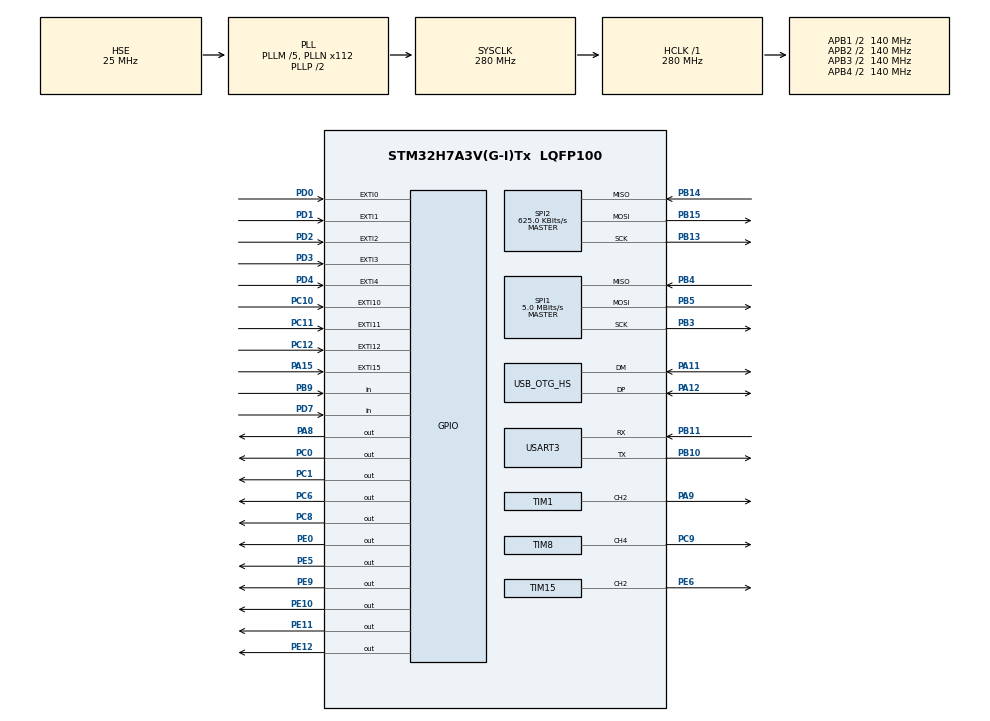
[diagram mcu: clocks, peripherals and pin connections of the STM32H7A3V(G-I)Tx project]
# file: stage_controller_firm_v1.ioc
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CORTEX_M7.default_mode_Activation=1
Dma.Request0=TIM1_UP
Dma.Request1=TIM8_UP
Dma.Request2=TIM15_UP
Dma.TIM15_UP.2.Direction=DMA_MEMORY_TO_PERIPH
Dma.TIM15_UP.2.EventEnable=DISABLE
Dma.TIM15_UP.2.FIFOMode=DMA_FIFOMODE_DISABLE
Dma.TIM15_UP.2.Instance=DMA1_Stream2
Dma.TIM15_UP.2.MemDataAlignment=DMA_MDATAALIGN_WORD
Dma.TIM15_UP.2.MemInc=DMA_MINC_ENABLE
Dma.TIM15_UP.2.Mode=DMA_NORMAL
Dma.TIM15_UP.2.PeriphDataAlignment=DMA_PDATAALIGN_WORD
Dma.TIM15_UP.2.PeriphInc=DMA_PINC_DISABLE
Dma.TIM15_UP.2.Polarity=HAL_DMAMUX_REQ_GEN_RISING
Dma.TIM15_UP.2.Priority=DMA_PRIORITY_VERY_HIGH
Dma.TIM15_UP.2.RequestNumber=1
Dma.TIM15_UP.2.SignalID=NONE
Dma.TIM15_UP.2.SyncEnable=DISABLE
Dma.TIM15_UP.2.SyncPolarity=HAL_DMAMUX_SYNC_NO_EVENT
Dma.TIM15_UP.2.SyncRequestNumber=1
Dma.TIM15_UP.2.SyncSignalID=NONE
Dma.TIM1_UP.0.Direction=DMA_MEMORY_TO_PERIPH
Dma.TIM1_UP.0.EventEnable=DISABLE
Dma.TIM1_UP.0.FIFOMode=DMA_FIFOMODE_DISABLE
Dma.TIM1_UP.0.Instance=DMA1_Stream0
Dma.TIM1_UP.0.MemDataAlignment=DMA_MDATAALIGN_WORD
Dma.TIM1_UP.0.MemInc=DMA_MINC_ENABLE
Dma.TIM1_UP.0.Mode=DMA_NORMAL
Dma.TIM1_UP.0.PeriphDataAlignment=DMA_PDATAALIGN_WORD
Dma.TIM1_UP.0.PeriphInc=DMA_PINC_DISABLE
Dma.TIM1_UP.0.Polarity=HAL_DMAMUX_REQ_GEN_RISING
Dma.TIM1_UP.0.Priority=DMA_PRIORITY_VERY_HIGH
Dma.TIM1_UP.0.RequestNumber=1
Dma.TIM1_UP.0.SignalID=NONE
Dma.TIM1_UP.0.SyncEnable=DISABLE
Dma.TIM1_UP.0.SyncPolarity=HAL_DMAMUX_SYNC_NO_EVENT
Dma.TIM1_UP.0.SyncRequestNumber=1
Dma.TIM1_UP.0.SyncSignalID=NONE
Dma.TIM8_UP.1.Direction=DMA_MEMORY_TO_PERIPH
Dma.TIM8_UP.1.EventEnable=DISABLE
Dma.TIM8_UP.1.FIFOMode=DMA_FIFOMODE_DISABLE
Dma.TIM8_UP.1.Instance=DMA1_Stream1
Dma.TIM8_UP.1.MemDataAlignment=DMA_MDATAALIGN_WORD
Dma.TIM8_UP.1.MemInc=DMA_MINC_ENABLE
Dma.TIM8_UP.1.Mode=DMA_NORMAL
Dma.TIM8_UP.1.PeriphDataAlignment=DMA_PDATAALIGN_WORD
Dma.TIM8_UP.1.PeriphInc=DMA_PINC_DISABLE
Dma.TIM8_UP.1.Polarity=HAL_DMAMUX_REQ_GEN_RISING
Dma.TIM8_UP.1.Priority=DMA_PRIORITY_VERY_HIGH
Dma.TIM8_UP.1.RequestNumber=1
Dma.TIM8_UP.1.SignalID=NONE
Dma.TIM8_UP.1.SyncEnable=DISABLE
Dma.TIM8_UP.1.SyncPolarity=HAL_DMAMUX_SYNC_NO_EVENT
Dma.TIM8_UP.1.SyncRequestNumber=1
Dma.TIM8_UP.1.SyncSignalID=NONE
Mcu.Family=STM32H7
Mcu.Name=STM32H7A3V(G-I)Tx
Mcu.Package=LQFP100
NVIC.DMA1_Stream0_IRQn=true\:2\:0\:true\:false\:true\:false\:true\:true
NVIC.DMA1_Stream1_IRQn=true\:0\:0\:false\:false\:true\:false\:true\:true
NVIC.DMA1_Stream2_IRQn=true\:0\:0\:false\:false\:true\:false\:true\:true
NVIC.EXTI0_IRQn=true\:1\:0\:true\:false\:true\:true\:true\:true
NVIC.EXTI15_10_IRQn=true\:1\:0\:true\:false\:true\:true\:true\:true
NVIC.EXTI1_IRQn=true\:1\:0\:true\:false\:true\:true\:true\:true
NVIC.EXTI2_IRQn=true\:1\:0\:true\:false\:true\:true\:true\:true
NVIC.EXTI3_IRQn=true\:1\:0\:true\:false\:true\:true\:true\:true
NVIC.EXTI4_IRQn=true\:1\:0\:true\:false\:true\:true\:true\:true
NVIC.OTG_HS_IRQn=true\:0\:0\:false\:false\:true\:false\:true\:true
NVIC.PriorityGroup=NVIC_PRIORITYGROUP_4
NVIC.SPI1_IRQn=true\:0\:0\:false\:false\:true\:true\:true\:true
NVIC.TIM15_IRQn=true\:0\:0\:false\:false\:true\:true\:true\:true
NVIC.TIM1_UP_IRQn=true\:2\:0\:true\:false\:true\:true\:true\:true
NVIC.TIM6_DAC_IRQn=true\:3\:0\:true\:false\:true\:true\:true\:true
NVIC.TIM8_UP_TIM13_IRQn=true\:0\:0\:false\:false\:true\:true\:true\:true
NVIC.USART3_IRQn=true\:7\:0\:true\:false\:true\:true\:true\:true
PA11.Mode=Device_Only_FS
PA11.Signal=USB_OTG_HS_DM
PA12.Mode=Device_Only_FS
PA12.Signal=USB_OTG_HS_DP
PA13.Mode=Serial_Wire
PA13.Signal=DEBUG_JTMS-SWDIO
PA14.Mode=Serial_Wire
PA14.Signal=DEBUG_JTCK-SWCLK
PA15.GPIO_ModeDefaultEXTI=GPIO_MODE_IT_RISING_FALLING
PA15.GPIO_PuPd=GPIO_PULLUP
PA15.Signal=GPXTI15
PA8.Signal=GPIO_Output
PA9.Signal=S_TIM1_CH2
PB10.Mode=Asynchronous
PB10.Signal=USART3_TX
PB11.Mode=Asynchronous
PB11.Signal=USART3_RX
PB13.Mode=Full_Duplex_Master
PB13.Signal=SPI2_SCK
PB14.Mode=Full_Duplex_Master
PB14.Signal=SPI2_MISO
PB15.Mode=Full_Duplex_Master
PB15.Signal=SPI2_MOSI
PB3.Mode=Full_Duplex_Master
PB3.Signal=SPI1_SCK
PB4.Mode=Full_Duplex_Master
PB4.Signal=SPI1_MISO
PB5.Mode=Full_Duplex_Master
PB5.Signal=SPI1_MOSI
PB9.Signal=GPIO_Input
PC0.Signal=GPIO_Output
PC1.Signal=GPIO_Output
PC10.GPIO_ModeDefaultEXTI=GPIO_MODE_IT_RISING_FALLING
PC10.GPIO_PuPd=GPIO_PULLUP
PC10.Signal=GPXTI10
PC11.GPIO_ModeDefaultEXTI=GPIO_MODE_IT_RISING_FALLING
PC11.GPIO_PuPd=GPIO_PULLUP
PC11.Signal=GPXTI11
PC12.GPIO_ModeDefaultEXTI=GPIO_MODE_IT_RISING_FALLING
PC12.GPIO_PuPd=GPIO_PULLUP
PC12.Signal=GPXTI12
PC6.Signal=GPIO_Output
PC8.Signal=GPIO_Output
PC9.Signal=S_TIM8_CH4
PD0.GPIO_ModeDefaultEXTI=GPIO_MODE_IT_RISING_FALLING
PD0.GPIO_PuPd=GPIO_PULLUP
PD0.Signal=GPXTI0
PD1.GPIO_ModeDefaultEXTI=GPIO_MODE_IT_RISING_FALLING
PD1.GPIO_PuPd=GPIO_PULLUP
PD1.Signal=GPXTI1
PD2.GPIO_ModeDefaultEXTI=GPIO_MODE_IT_RISING_FALLING
PD2.GPIO_PuPd=GPIO_PULLUP
PD2.Signal=GPXTI2
PD3.GPIO_ModeDefaultEXTI=GPIO_MODE_IT_RISING_FALLING
PD3.GPIO_PuPd=GPIO_PULLUP
PD3.Signal=GPXTI3
PD4.GPIO_ModeDefaultEXTI=GPIO_MODE_IT_RISING_FALLING
PD4.GPIO_PuPd=GPIO_PULLUP
PD4.Signal=GPXTI4
PD7.Signal=GPIO_Input
PE0.Signal=GPIO_Output
PE10.Signal=GPIO_Output
PE11.Signal=GPIO_Output
PE12.Signal=GPIO_Output
PE5.Signal=GPIO_Output
PE6.Signal=S_TIM15_CH2
PE9.Signal=GPIO_Output
PH0-OSC_IN.Mode=HSE-External-Clock-Source
PH0-OSC_IN.Signal=RCC_OSC_IN
ProjectManager.HeapSize=0x200
ProjectManager.StackSize=0x400
ProjectManager.TargetToolchain=STM32CubeIDE
RCC.ADCFreq_Value=50390625
RCC.APB1Freq_Value=140000000
RCC.APB2Freq_Value=140000000
RCC.APB3Freq_Value=140000000
RCC.APB4Freq_Value=140000000
RCC.CDPPRE=RCC_APB3_DIV2
RCC.CDPPRE1=RCC_APB1_DIV2
RCC.CDPPRE2=RCC_APB2_DIV2
RCC.CortexFreq_Value=280000000
RCC.DIVM1=5
RCC.DIVN1=112
RCC.DIVQ1=14
RCC.HCLKFreq_Value=280000000
RCC.HSE_VALUE=25000000
RCC.PLLSourceVirtual=RCC_PLLSOURCE_HSE
RCC.SRDPPRE=RCC_APB4_DIV2
RCC.SYSCLKFreq_VALUE=280000000
RCC.SYSCLKSource=RCC_SYSCLKSOURCE_PLLCLK
RCC.USBCLockSelection=RCC_USBCLKSOURCE_HSI48
RCC.USBFreq_Value=48000000
SH.S_TIM15_CH2.0=TIM15_CH2,PWM Generation2 CH2
SH.S_TIM1_CH2.0=TIM1_CH2,PWM Generation2 CH2
SH.S_TIM8_CH4.0=TIM8_CH4,PWM Generation4 CH4
SPI1.BaudRatePrescaler=SPI_BAUDRATEPRESCALER_8
SPI1.CLKPhase=SPI_PHASE_2EDGE
SPI1.CLKPolarity=SPI_POLARITY_HIGH
SPI1.CalculateBaudRate=5.0 MBits/s
SPI1.DataSize=SPI_DATASIZE_8BIT
SPI1.Direction=SPI_DIRECTION_2LINES
SPI1.Mode=SPI_MODE_MASTER
SPI1.VirtualType=VM_MASTER
SPI2.BaudRatePrescaler=SPI_BAUDRATEPRESCALER_64
SPI2.CLKPhase=SPI_PHASE_2EDGE
SPI2.CLKPolarity=SPI_POLARITY_HIGH
SPI2.CalculateBaudRate=625.0 KBits/s
SPI2.DataSize=SPI_DATASIZE_8BIT
SPI2.Direction=SPI_DIRECTION_2LINES
SPI2.Mode=SPI_MODE_MASTER
SPI2.VirtualType=VM_MASTER
TIM1.Channel-PWM\ Generation2\ CH2=TIM_CHANNEL_2
TIM1.Prescaler=279
TIM1.TIM_MasterSlaveMode=TIM_MASTERSLAVEMODE_DISABLE
TIM15.Channel-PWM\ Generation2\ CH2=TIM_CHANNEL_2
TIM15.Prescaler=279
TIM8.Channel-PWM\ Generation4\ CH4=TIM_CHANNEL_4
TIM8.Prescaler=279
USART3.VirtualMode-Asynchronous=VM_ASYNC
USB_DEVICE.CLASS_NAME_HS=CDC
USB_DEVICE.VirtualMode=Cdc
USB_DEVICE.VirtualModeHS=Cdc_HS
USB_OTG_HS.VirtualMode-Device_Only_FS=Device_Only_FS
VP_MEMORYMAP_VS_MEMORYMAP.Mode=CurAppReg
VP_TIM15_VS_ClockSourceINT.Mode=Internal
VP_TIM1_VS_ClockSourceINT.Mode=Internal
VP_TIM6_VS_ClockSourceINT.Mode=Enable_Timer
VP_TIM8_VS_ClockSourceINT.Mode=Internal
VP_USB_DEVICE_VS_USB_DEVICE_CDC_HS.Mode=CDC_HS
board=custom

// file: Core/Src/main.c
/* USER CODE BEGIN Header */
/**
  ******************************************************************************
  * @file           : main.c
  * @brief          : Main program body
  ******************************************************************************
  * @attention
  *
  * Copyright (c) 2026 STMicroelectronics.
  * All rights reserved.
  *
  * This software is licensed under terms that can be found in the LICENSE file
  * in the root directory of this software component.
  * If no LICENSE file comes with this software, it is provided AS-IS.
  *
  ******************************************************************************
  */
/* USER CODE END Header */
#include "main.h"
#include "usb_device.h"

/* USER CODE BEGIN Includes */
#include "functions.h"
#include "mtd415t.h"
/* USER CODE END Includes */

SPI_HandleTypeDef hspi1;
SPI_HandleTypeDef hspi2;

TIM_HandleTypeDef htim1;
TIM_HandleTypeDef htim6;
TIM_HandleTypeDef htim8;
TIM_HandleTypeDef htim15;
DMA_HandleTypeDef hdma_tim1_up;
DMA_HandleTypeDef hdma_tim8_up;
DMA_HandleTypeDef hdma_tim15_up;

UART_HandleTypeDef huart3;

void SystemClock_Config(void);
static void MPU_Config(void);
static void MX_GPIO_Init(void);
static void MX_DMA_Init(void);
static void MX_SPI2_Init(void);
static void MX_TIM1_Init(void);
static void MX_TIM8_Init(void);
static void MX_TIM6_Init(void);
static void MX_USART3_UART_Init(void);
static void MX_TIM15_Init(void);
static void MX_SPI1_Init(void);

int main(void)
{

  /* MPU Configuration--------------------------------------------------------*/
  MPU_Config();

  /* MCU Configuration--------------------------------------------------------*/

  /* Reset of all peripherals, Initializes the Flash interface and the Systick. */
  HAL_Init();

  /* Configure the system clock */
  SystemClock_Config();

  /* Initialize all configured peripherals */
  MX_GPIO_Init();
  MX_DMA_Init();
  MX_SPI2_Init();
  MX_TIM1_Init();
  MX_USB_DEVICE_Init();
  MX_TIM8_Init();
  MX_TIM6_Init();
  MX_USART3_UART_Init();
  MX_TIM15_Init();
  MX_SPI1_Init();
  /* USER CODE BEGIN 2 */

  Motor_Init();
  GetCLK();

  /* MTD415T TEC controller: bind USART3 and start interrupt RX.
   * Requires USART3 to be enabled in CubeMX (115200-8-N-1, global IRQ on),
   * which generates `huart3` and MX_USART3_UART_Init() above. */
  MTD415T_Init(&huart3);

  /* ── Parameter initialisation ──
   * 1. Reg_prepare() fills parm[] with names and default values.
   * 2. Parm_Flash_Load() overwrites parm[] with saved data when valid.
   *    If flash is blank or corrupt the defaults from Reg_prepare() remain.
   * 3. Parm_set() always runs, applying whichever values are in parm[].
   */
  Reg_prepare();
  (void)Parm_Flash_Load();
  Parm_set();

  /* カスケード接続(コントローラ間 SPI, hspi1)。役割は Parm_set 後の P_is_master で確定。
   * ※ 事前に CubeMX で SPI1(PB3/PB4/PB5, Master, ソフトNSS, 8bit) と SPI1 グローバル割込を
   *    有効化し MX_SPI1_Init() が生成されていること。スレーブ機は内部で Slave へ再設定される。*/
  Cascade_Init();

  /* ── TIM6: 10 ms tick  (APB1 timer = 140 MHz, PSC=1399, ARR=999 → 100 Hz) */
  htim6.Instance->PSC = 1399u;
  htim6.Instance->ARR = 999u;
  htim6.Instance->EGR = TIM_EGR_UG;

  /* NVIC は CubeMX で設定（DMA1_Stream0/1/2, TIM1_UP, TIM8_UP_TIM13, TIM3, TIM6_DAC,
   * EXTI）。ここでは TIM6 の更新割り込みを開始するのみ。*/
  HAL_TIM_Base_Start_IT(&htim6);

  /* USER CODE END 2 */

  /* Infinite loop */
  while (1)
  {

    /* USER CODE BEGIN 3 */
    Cmd_Process();
    Cascade_Poll();   /* スレーブ機: 受信コマンドを実行し応答を用意（マスターでは何もしない） */
  }
  /* USER CODE END 3 */
}

void SystemClock_Config(void)
{
  RCC_OscInitTypeDef RCC_OscInitStruct = {0};
  RCC_ClkInitTypeDef RCC_ClkInitStruct = {0};

  /*AXI clock gating */
  RCC->CKGAENR = 0xE003FFFF;

  /** Supply configuration update enable
  */
  HAL_PWREx_ConfigSupply(PWR_LDO_SUPPLY);

  /** Configure the main internal regulator output voltage
  */
  __HAL_PWR_VOLTAGESCALING_CONFIG(PWR_REGULATOR_VOLTAGE_SCALE0);

  while(!__HAL_PWR_GET_FLAG(PWR_FLAG_VOSRDY)) {}

  /** Initializes the RCC Oscillators according to the specified parameters
  * in the RCC_OscInitTypeDef structure.
  */
  RCC_OscInitStruct.OscillatorType = RCC_OSCILLATORTYPE_HSI48|RCC_OSCILLATORTYPE_HSE;
  RCC_OscInitStruct.HSEState = RCC_HSE_BYPASS;
  RCC_OscInitStruct.HSI48State = RCC_HSI48_ON;
  RCC_OscInitStruct.PLL.PLLState = RCC_PLL_ON;
  RCC_OscInitStruct.PLL.PLLSource = RCC_PLLSOURCE_HSE;
  RCC_OscInitStruct.PLL.PLLM = 5;
  RCC_OscInitStruct.PLL.PLLN = 112;
  RCC_OscInitStruct.PLL.PLLP = 2;
  RCC_OscInitStruct.PLL.PLLQ = 14;
  RCC_OscInitStruct.PLL.PLLR = 2;
  RCC_OscInitStruct.PLL.PLLRGE = RCC_PLL1VCIRANGE_2;
  RCC_OscInitStruct.PLL.PLLVCOSEL = RCC_PLL1VCOWIDE;
  RCC_OscInitStruct.PLL.PLLFRACN = 0;
  if (HAL_RCC_OscConfig(&RCC_OscInitStruct) != HAL_OK)
  {
    Error_Handler();
  }

  /** Initializes the CPU, AHB and APB buses clocks
  */
  RCC_ClkInitStruct.ClockType = RCC_CLOCKTYPE_HCLK|RCC_CLOCKTYPE_SYSCLK
                              |RCC_CLOCKTYPE_PCLK1|RCC_CLOCKTYPE_PCLK2
                              |RCC_CLOCKTYPE_D3PCLK1|RCC_CLOCKTYPE_D1PCLK1;
  RCC_ClkInitStruct.SYSCLKSource = RCC_SYSCLKSOURCE_PLLCLK;
  RCC_ClkInitStruct.SYSCLKDivider = RCC_SYSCLK_DIV1;
  RCC_ClkInitStruct.AHBCLKDivider = RCC_HCLK_DIV1;
  RCC_ClkInitStruct.APB3CLKDivider = RCC_APB3_DIV2;
  RCC_ClkInitStruct.APB1CLKDivider = RCC_APB1_DIV2;
  RCC_ClkInitStruct.APB2CLKDivider = RCC_APB2_DIV2;
  RCC_ClkInitStruct.APB4CLKDivider = RCC_APB4_DIV2;

  if (HAL_RCC_ClockConfig(&RCC_ClkInitStruct, FLASH_LATENCY_6) != HAL_OK)
  {
    Error_Handler();
  }
}

static void MX_SPI1_Init(void)
{

  /* SPI1 parameter configuration*/
  hspi1.Instance = SPI1;
  hspi1.Init.Mode = SPI_MODE_MASTER;
  hspi1.Init.Direction = SPI_DIRECTION_2LINES;
  hspi1.Init.DataSize = SPI_DATASIZE_8BIT;
  hspi1.Init.CLKPolarity = SPI_POLARITY_HIGH;
  hspi1.Init.CLKPhase = SPI_PHASE_2EDGE;
  hspi1.Init.NSS = SPI_NSS_SOFT;
  hspi1.Init.BaudRatePrescaler = SPI_BAUDRATEPRESCALER_8;
  hspi1.Init.FirstBit = SPI_FIRSTBIT_MSB;
  hspi1.Init.TIMode = SPI_TIMODE_DISABLE;
  hspi1.Init.CRCCalculation = SPI_CRCCALCULATION_DISABLE;
  hspi1.Init.CRCPolynomial = 0x0;
  hspi1.Init.NSSPMode = SPI_NSS_PULSE_ENABLE;
  hspi1.Init.NSSPolarity = SPI_NSS_POLARITY_LOW;
  hspi1.Init.FifoThreshold = SPI_FIFO_THRESHOLD_01DATA;
  hspi1.Init.TxCRCInitializationPattern = SPI_CRC_INITIALIZATION_ALL_ZERO_PATTERN;
  hspi1.Init.RxCRCInitializationPattern = SPI_CRC_INITIALIZATION_ALL_ZERO_PATTERN;
  hspi1.Init.MasterSSIdleness = SPI_MASTER_SS_IDLENESS_00CYCLE;
  hspi1.Init.MasterInterDataIdleness = SPI_MASTER_INTERDATA_IDLENESS_00CYCLE;
  hspi1.Init.MasterReceiverAutoSusp = SPI_MASTER_RX_AUTOSUSP_DISABLE;
  hspi1.Init.MasterKeepIOState = SPI_MASTER_KEEP_IO_STATE_DISABLE;
  hspi1.Init.IOSwap = SPI_IO_SWAP_DISABLE;
  if (HAL_SPI_Init(&hspi1) != HAL_OK)
  {
    Error_Handler();
  }

}

static void MX_SPI2_Init(void)
{

  /* SPI2 parameter configuration*/
  hspi2.Instance = SPI2;
  hspi2.Init.Mode = SPI_MODE_MASTER;
  hspi2.Init.Direction = SPI_DIRECTION_2LINES;
  hspi2.Init.DataSize = SPI_DATASIZE_8BIT;
  hspi2.Init.CLKPolarity = SPI_POLARITY_HIGH;
  hspi2.Init.CLKPhase = SPI_PHASE_2EDGE;
  hspi2.Init.NSS = SPI_NSS_SOFT;
  hspi2.Init.BaudRatePrescaler = SPI_BAUDRATEPRESCALER_64;
  hspi2.Init.FirstBit = SPI_FIRSTBIT_MSB;
  hspi2.Init.TIMode = SPI_TIMODE_DISABLE;
  hspi2.Init.CRCCalculation = SPI_CRCCALCULATION_DISABLE;
  hspi2.Init.CRCPolynomial = 0x0;
  hspi2.Init.NSSPMode = SPI_NSS_PULSE_ENABLE;
  hspi2.Init.NSSPolarity = SPI_NSS_POLARITY_LOW;
  hspi2.Init.FifoThreshold = SPI_FIFO_THRESHOLD_01DATA;
  hspi2.Init.TxCRCInitializationPattern = SPI_CRC_INITIALIZATION_ALL_ZERO_PATTERN;
  hspi2.Init.RxCRCInitializationPattern = SPI_CRC_INITIALIZATION_ALL_ZERO_PATTERN;
  hspi2.Init.MasterSSIdleness = SPI_MASTER_SS_IDLENESS_00CYCLE;
  hspi2.Init.MasterInterDataIdleness = SPI_MASTER_INTERDATA_IDLENESS_00CYCLE;
  hspi2.Init.MasterReceiverAutoSusp = SPI_MASTER_RX_AUTOSUSP_DISABLE;
  hspi2.Init.MasterKeepIOState = SPI_MASTER_KEEP_IO_STATE_DISABLE;
  hspi2.Init.IOSwap = SPI_IO_SWAP_DISABLE;
  if (HAL_SPI_Init(&hspi2) != HAL_OK)
  {
    Error_Handler();
  }

}

static void MX_TIM1_Init(void)
{

  TIM_ClockConfigTypeDef sClockSourceConfig = {0};
  TIM_MasterConfigTypeDef sMasterConfig = {0};
  TIM_OC_InitTypeDef sConfigOC = {0};
  TIM_BreakDeadTimeConfigTypeDef sBreakDeadTimeConfig = {0};

  htim1.Instance = TIM1;
  htim1.Init.Prescaler = 279;
  htim1.Init.CounterMode = TIM_COUNTERMODE_UP;
  htim1.Init.Period = 65535;
  htim1.Init.ClockDivision = TIM_CLOCKDIVISION_DIV1;
  htim1.Init.RepetitionCounter = 0;
  htim1.Init.AutoReloadPreload = TIM_AUTORELOAD_PRELOAD_DISABLE;
  if (HAL_TIM_Base_Init(&htim1) != HAL_OK)
  {
    Error_Handler();
  }
  sClockSourceConfig.ClockSource = TIM_CLOCKSOURCE_INTERNAL;
  if (HAL_TIM_ConfigClockSource(&htim1, &sClockSourceConfig) != HAL_OK)
  {
    Error_Handler();
  }
  if (HAL_TIM_PWM_Init(&htim1) != HAL_OK)
  {
    Error_Handler();
  }
  sMasterConfig.MasterOutputTrigger = TIM_TRGO_RESET;
  sMasterConfig.MasterOutputTrigger2 = TIM_TRGO2_RESET;
  sMasterConfig.MasterSlaveMode = TIM_MASTERSLAVEMODE_DISABLE;
  if (HAL_TIMEx_MasterConfigSynchronization(&htim1, &sMasterConfig) != HAL_OK)
  {
    Error_Handler();
  }
  sConfigOC.OCMode = TIM_OCMODE_PWM1;
  sConfigOC.Pulse = 0;
  sConfigOC.OCPolarity = TIM_OCPOLARITY_HIGH;
  sConfigOC.OCNPolarity = TIM_OCNPOLARITY_HIGH;
  sConfigOC.OCFastMode = TIM_OCFAST_DISABLE;
  sConfigOC.OCIdleState = TIM_OCIDLESTATE_RESET;
  sConfigOC.OCNIdleState = TIM_OCNIDLESTATE_RESET;
  if (HAL_TIM_PWM_ConfigChannel(&htim1, &sConfigOC, TIM_CHANNEL_2) != HAL_OK)
  {
    Error_Handler();
  }
  sBreakDeadTimeConfig.OffStateRunMode = TIM_OSSR_DISABLE;
  sBreakDeadTimeConfig.OffStateIDLEMode = TIM_OSSI_DISABLE;
  sBreakDeadTimeConfig.LockLevel = TIM_LOCKLEVEL_OFF;
  sBreakDeadTimeConfig.DeadTime = 0;
  sBreakDeadTimeConfig.BreakState = TIM_BREAK_DISABLE;
  sBreakDeadTimeConfig.BreakPolarity = TIM_BREAKPOLARITY_HIGH;
  sBreakDeadTimeConfig.BreakFilter = 0;
  sBreakDeadTimeConfig.Break2State = TIM_BREAK2_DISABLE;
  sBreakDeadTimeConfig.Break2Polarity = TIM_BREAK2POLARITY_HIGH;
  sBreakDeadTimeConfig.Break2Filter = 0;
  sBreakDeadTimeConfig.AutomaticOutput = TIM_AUTOMATICOUTPUT_DISABLE;
  if (HAL_TIMEx_ConfigBreakDeadTime(&htim1, &sBreakDeadTimeConfig) != HAL_OK)
  {
    Error_Handler();
  }
  HAL_TIM_MspPostInit(&htim1);

}

static void MX_TIM6_Init(void)
{

  TIM_MasterConfigTypeDef sMasterConfig = {0};

  htim6.Instance = TIM6;
  htim6.Init.Prescaler = 0;
  htim6.Init.CounterMode = TIM_COUNTERMODE_UP;
  htim6.Init.Period = 65535;
  htim6.Init.AutoReloadPreload = TIM_AUTORELOAD_PRELOAD_DISABLE;
  if (HAL_TIM_Base_Init(&htim6) != HAL_OK)
  {
    Error_Handler();
  }
  sMasterConfig.MasterOutputTrigger = TIM_TRGO_RESET;
  sMasterConfig.MasterSlaveMode = TIM_MASTERSLAVEMODE_DISABLE;
  if (HAL_TIMEx_MasterConfigSynchronization(&htim6, &sMasterConfig) != HAL_OK)
  {
    Error_Handler();
  }

}

static void MX_TIM8_Init(void)
{

  TIM_ClockConfigTypeDef sClockSourceConfig = {0};
  TIM_MasterConfigTypeDef sMasterConfig = {0};
  TIM_OC_InitTypeDef sConfigOC = {0};
  TIM_BreakDeadTimeConfigTypeDef sBreakDeadTimeConfig = {0};

  htim8.Instance = TIM8;
  htim8.Init.Prescaler = 279;
  htim8.Init.CounterMode = TIM_COUNTERMODE_UP;
  htim8.Init.Period = 65535;
  htim8.Init.ClockDivision = TIM_CLOCKDIVISION_DIV1;
  htim8.Init.RepetitionCounter = 0;
  htim8.Init.AutoReloadPreload = TIM_AUTORELOAD_PRELOAD_DISABLE;
  if (HAL_TIM_Base_Init(&htim8) != HAL_OK)
  {
    Error_Handler();
  }
  sClockSourceConfig.ClockSource = TIM_CLOCKSOURCE_INTERNAL;
  if (HAL_TIM_ConfigClockSource(&htim8, &sClockSourceConfig) != HAL_OK)
  {
    Error_Handler();
  }
  if (HAL_TIM_PWM_Init(&htim8) != HAL_OK)
  {
    Error_Handler();
  }
  sMasterConfig.MasterOutputTrigger = TIM_TRGO_RESET;
  sMasterConfig.MasterOutputTrigger2 = TIM_TRGO2_RESET;
  sMasterConfig.MasterSlaveMode = TIM_MASTERSLAVEMODE_DISABLE;
  if (HAL_TIMEx_MasterConfigSynchronization(&htim8, &sMasterConfig) != HAL_OK)
  {
    Error_Handler();
  }
  sConfigOC.OCMode = TIM_OCMODE_PWM1;
  sConfigOC.Pulse = 0;
  sConfigOC.OCPolarity = TIM_OCPOLARITY_HIGH;
  sConfigOC.OCFastMode = TIM_OCFAST_DISABLE;
  sConfigOC.OCIdleState = TIM_OCIDLESTATE_RESET;
  sConfigOC.OCNIdleState = TIM_OCNIDLESTATE_RESET;
  if (HAL_TIM_PWM_ConfigChannel(&htim8, &sConfigOC, TIM_CHANNEL_4) != HAL_OK)
  {
    Error_Handler();
  }
  sBreakDeadTimeConfig.OffStateRunMode = TIM_OSSR_DISABLE;
  sBreakDeadTimeConfig.OffStateIDLEMode = TIM_OSSI_DISABLE;
  sBreakDeadTimeConfig.LockLevel = TIM_LOCKLEVEL_OFF;
  sBreakDeadTimeConfig.DeadTime = 0;
  sBreakDeadTimeConfig.BreakState = TIM_BREAK_DISABLE;
  sBreakDeadTimeConfig.BreakPolarity = TIM_BREAKPOLARITY_HIGH;
  sBreakDeadTimeConfig.BreakFilter = 0;
  sBreakDeadTimeConfig.Break2State = TIM_BREAK2_DISABLE;
  sBreakDeadTimeConfig.Break2Polarity = TIM_BREAK2POLARITY_HIGH;
  sBreakDeadTimeConfig.Break2Filter = 0;
  sBreakDeadTimeConfig.AutomaticOutput = TIM_AUTOMATICOUTPUT_DISABLE;
  if (HAL_TIMEx_ConfigBreakDeadTime(&htim8, &sBreakDeadTimeConfig) != HAL_OK)
  {
    Error_Handler();
  }
  HAL_TIM_MspPostInit(&htim8);

}

static void MX_TIM15_Init(void)
{

  TIM_ClockConfigTypeDef sClockSourceConfig = {0};
  TIM_MasterConfigTypeDef sMasterConfig = {0};
  TIM_OC_InitTypeDef sConfigOC = {0};
  TIM_BreakDeadTimeConfigTypeDef sBreakDeadTimeConfig = {0};

  htim15.Instance = TIM15;
  htim15.Init.Prescaler = 279;
  htim15.Init.CounterMode = TIM_COUNTERMODE_UP;
  htim15.Init.Period = 65535;
  htim15.Init.ClockDivision = TIM_CLOCKDIVISION_DIV1;
  htim15.Init.RepetitionCounter = 0;
  htim15.Init.AutoReloadPreload = TIM_AUTORELOAD_PRELOAD_DISABLE;
  if (HAL_TIM_Base_Init(&htim15) != HAL_OK)
  {
    Error_Handler();
  }
  sClockSourceConfig.ClockSource = TIM_CLOCKSOURCE_INTERNAL;
  if (HAL_TIM_ConfigClockSource(&htim15, &sClockSourceConfig) != HAL_OK)
  {
    Error_Handler();
  }
  if (HAL_TIM_PWM_Init(&htim15) != HAL_OK)
  {
    Error_Handler();
  }
  sMasterConfig.MasterOutputTrigger = TIM_TRGO_RESET;
  sMasterConfig.MasterSlaveMode = TIM_MASTERSLAVEMODE_DISABLE;
  if (HAL_TIMEx_MasterConfigSynchronization(&htim15, &sMasterConfig) != HAL_OK)
  {
    Error_Handler();
  }
  sConfigOC.OCMode = TIM_OCMODE_PWM1;
  sConfigOC.Pulse = 0;
  sConfigOC.OCPolarity = TIM_OCPOLARITY_HIGH;
  sConfigOC.OCNPolarity = TIM_OCNPOLARITY_HIGH;
  sConfigOC.OCFastMode = TIM_OCFAST_DISABLE;
  sConfigOC.OCIdleState = TIM_OCIDLESTATE_RESET;
  sConfigOC.OCNIdleState = TIM_OCNIDLESTATE_RESET;
  if (HAL_TIM_PWM_ConfigChannel(&htim15, &sConfigOC, TIM_CHANNEL_2) != HAL_OK)
  {
    Error_Handler();
  }
  sBreakDeadTimeConfig.OffStateRunMode = TIM_OSSR_DISABLE;
  sBreakDeadTimeConfig.OffStateIDLEMode = TIM_OSSI_DISABLE;
  sBreakDeadTimeConfig.LockLevel = TIM_LOCKLEVEL_OFF;
  sBreakDeadTimeConfig.DeadTime = 0;
  sBreakDeadTimeConfig.BreakState = TIM_BREAK_DISABLE;
  sBreakDeadTimeConfig.BreakPolarity = TIM_BREAKPOLARITY_HIGH;
  sBreakDeadTimeConfig.BreakFilter = 0;
  sBreakDeadTimeConfig.AutomaticOutput = TIM_AUTOMATICOUTPUT_DISABLE;
  if (HAL_TIMEx_ConfigBreakDeadTime(&htim15, &sBreakDeadTimeConfig) != HAL_OK)
  {
    Error_Handler();
  }
  HAL_TIM_MspPostInit(&htim15);

}

static void MX_USART3_UART_Init(void)
{

  huart3.Instance = USART3;
  huart3.Init.BaudRate = 115200;
  huart3.Init.WordLength = UART_WORDLENGTH_8B;
  huart3.Init.StopBits = UART_STOPBITS_1;
  huart3.Init.Parity = UART_PARITY_NONE;
  huart3.Init.Mode = UART_MODE_TX_RX;
  huart3.Init.HwFlowCtl = UART_HWCONTROL_NONE;
  huart3.Init.OverSampling = UART_OVERSAMPLING_16;
  huart3.Init.OneBitSampling = UART_ONE_BIT_SAMPLE_DISABLE;
  huart3.Init.ClockPrescaler = UART_PRESCALER_DIV1;
  huart3.AdvancedInit.AdvFeatureInit = UART_ADVFEATURE_NO_INIT;
  if (HAL_UART_Init(&huart3) != HAL_OK)
  {
    Error_Handler();
  }
  if (HAL_UARTEx_SetTxFifoThreshold(&huart3, UART_TXFIFO_THRESHOLD_1_8) != HAL_OK)
  {
    Error_Handler();
  }
  if (HAL_UARTEx_SetRxFifoThreshold(&huart3, UART_RXFIFO_THRESHOLD_1_8) != HAL_OK)
  {
    Error_Handler();
  }
  if (HAL_UARTEx_DisableFifoMode(&huart3) != HAL_OK)
  {
    Error_Handler();
  }

}

static void MX_DMA_Init(void)
{

  /* DMA controller clock enable */
  __HAL_RCC_DMA1_CLK_ENABLE();

  /* DMA interrupt init */
  /* DMA1_Stream0_IRQn interrupt configuration */
  HAL_NVIC_SetPriority(DMA1_Stream0_IRQn, 2, 0);
  HAL_NVIC_EnableIRQ(DMA1_Stream0_IRQn);
  /* DMA1_Stream1_IRQn interrupt configuration */
  HAL_NVIC_SetPriority(DMA1_Stream1_IRQn, 0, 0);
  HAL_NVIC_EnableIRQ(DMA1_Stream1_IRQn);
  /* DMA1_Stream2_IRQn interrupt configuration */
  HAL_NVIC_SetPriority(DMA1_Stream2_IRQn, 0, 0);
  HAL_NVIC_EnableIRQ(DMA1_Stream2_IRQn);

}

static void MX_GPIO_Init(void)
{
  GPIO_InitTypeDef GPIO_InitStruct = {0};

  /* GPIO Ports Clock Enable */
  __HAL_RCC_GPIOE_CLK_ENABLE();
  __HAL_RCC_GPIOH_CLK_ENABLE();
  __HAL_RCC_GPIOC_CLK_ENABLE();
  __HAL_RCC_GPIOB_CLK_ENABLE();
  __HAL_RCC_GPIOA_CLK_ENABLE();
  __HAL_RCC_GPIOD_CLK_ENABLE();

  /*Configure GPIO pin Output Level */
  HAL_GPIO_WritePin(GPIOE, GPIO_PIN_5|GPIO_PIN_9|GPIO_PIN_10|GPIO_PIN_11
                          |GPIO_PIN_12|GPIO_PIN_0, GPIO_PIN_RESET);

  /*Configure GPIO pin Output Level */
  HAL_GPIO_WritePin(GPIOC, GPIO_PIN_0|GPIO_PIN_1|GPIO_PIN_6|GPIO_PIN_8, GPIO_PIN_RESET);

  /*Configure GPIO pin Output Level */
  HAL_GPIO_WritePin(GPIOA, GPIO_PIN_8, GPIO_PIN_RESET);

  /*Configure GPIO pins : PE5 PE9 PE10 PE11
                           PE12 PE0 */
  GPIO_InitStruct.Pin = GPIO_PIN_5|GPIO_PIN_9|GPIO_PIN_10|GPIO_PIN_11
                          |GPIO_PIN_12|GPIO_PIN_0;
  GPIO_InitStruct.Mode = GPIO_MODE_OUTPUT_PP;
  GPIO_InitStruct.Pull = GPIO_NOPULL;
  GPIO_InitStruct.Speed = GPIO_SPEED_FREQ_LOW;
  HAL_GPIO_Init(GPIOE, &GPIO_InitStruct);

  /*Configure GPIO pins : PC0 PC1 PC6 PC8 */
  GPIO_InitStruct.Pin = GPIO_PIN_0|GPIO_PIN_1|GPIO_PIN_6|GPIO_PIN_8;
  GPIO_InitStruct.Mode = GPIO_MODE_OUTPUT_PP;
  GPIO_InitStruct.Pull = GPIO_NOPULL;
  GPIO_InitStruct.Speed = GPIO_SPEED_FREQ_LOW;
  HAL_GPIO_Init(GPIOC, &GPIO_InitStruct);

  /*Configure GPIO pin : PA8 */
  GPIO_InitStruct.Pin = GPIO_PIN_8;
  GPIO_InitStruct.Mode = GPIO_MODE_OUTPUT_PP;
  GPIO_InitStruct.Pull = GPIO_NOPULL;
  GPIO_InitStruct.Speed = GPIO_SPEED_FREQ_LOW;
  HAL_GPIO_Init(GPIOA, &GPIO_InitStruct);

  /*Configure GPIO pin : PA15 */
  GPIO_InitStruct.Pin = GPIO_PIN_15;
  GPIO_InitStruct.Mode = GPIO_MODE_IT_RISING_FALLING;
  GPIO_InitStruct.Pull = GPIO_PULLUP;
  HAL_GPIO_Init(GPIOA, &GPIO_InitStruct);

  /*Configure GPIO pins : PC10 PC11 PC12 */
  GPIO_InitStruct.Pin = GPIO_PIN_10|GPIO_PIN_11|GPIO_PIN_12;
  GPIO_InitStruct.Mode = GPIO_MODE_IT_RISING_FALLING;
  GPIO_InitStruct.Pull = GPIO_PULLUP;
  HAL_GPIO_Init(GPIOC, &GPIO_InitStruct);

  /*Configure GPIO pins : PD0 PD1 PD2 PD3
                           PD4 */
  GPIO_InitStruct.Pin = GPIO_PIN_0|GPIO_PIN_1|GPIO_PIN_2|GPIO_PIN_3
                          |GPIO_PIN_4;
  GPIO_InitStruct.Mode = GPIO_MODE_IT_RISING_FALLING;
  GPIO_InitStruct.Pull = GPIO_PULLUP;
  HAL_GPIO_Init(GPIOD, &GPIO_InitStruct);

  /*Configure GPIO pin : PD7 */
  GPIO_InitStruct.Pin = GPIO_PIN_7;
  GPIO_InitStruct.Mode = GPIO_MODE_INPUT;
  GPIO_InitStruct.Pull = GPIO_NOPULL;
  HAL_GPIO_Init(GPIOD, &GPIO_InitStruct);

  /*Configure GPIO pin : PB9 */
  GPIO_InitStruct.Pin = GPIO_PIN_9;
  GPIO_InitStruct.Mode = GPIO_MODE_INPUT;
  GPIO_InitStruct.Pull = GPIO_NOPULL;
  HAL_GPIO_Init(GPIOB, &GPIO_InitStruct);

  /* EXTI interrupt init*/
  HAL_NVIC_SetPriority(EXTI0_IRQn, 1, 0);
  HAL_NVIC_EnableIRQ(EXTI0_IRQn);

  HAL_NVIC_SetPriority(EXTI1_IRQn, 1, 0);
  HAL_NVIC_EnableIRQ(EXTI1_IRQn);

  HAL_NVIC_SetPriority(EXTI2_IRQn, 1, 0);
  HAL_NVIC_EnableIRQ(EXTI2_IRQn);

  HAL_NVIC_SetPriority(EXTI3_IRQn, 1, 0);
  HAL_NVIC_EnableIRQ(EXTI3_IRQn);

  HAL_NVIC_SetPriority(EXTI4_IRQn, 1, 0);
  HAL_NVIC_EnableIRQ(EXTI4_IRQn);

  HAL_NVIC_SetPriority(EXTI15_10_IRQn, 1, 0);
  HAL_NVIC_EnableIRQ(EXTI15_10_IRQn);

}

 /* MPU Configuration */

void MPU_Config(void)
{
  MPU_Region_InitTypeDef MPU_InitStruct = {0};

  /* Disables the MPU */
  HAL_MPU_Disable();

  /** Initializes and configures the Region and the memory to be protected
  */
  MPU_InitStruct.Enable = MPU_REGION_ENABLE;
  MPU_InitStruct.Number = MPU_REGION_NUMBER0;
  MPU_InitStruct.BaseAddress = 0x0;
  MPU_InitStruct.Size = MPU_REGION_SIZE_4GB;
  MPU_InitStruct.SubRegionDisable = 0x87;
  MPU_InitStruct.TypeExtField = MPU_TEX_LEVEL0;
  MPU_InitStruct.AccessPermission = MPU_REGION_NO_ACCESS;
  MPU_InitStruct.DisableExec = MPU_INSTRUCTION_ACCESS_DISABLE;
  MPU_InitStruct.IsShareable = MPU_ACCESS_SHAREABLE;
  MPU_InitStruct.IsCacheable = MPU_ACCESS_NOT_CACHEABLE;
  MPU_InitStruct.IsBufferable = MPU_ACCESS_NOT_BUFFERABLE;

  HAL_MPU_ConfigRegion(&MPU_InitStruct);
  /* Enables the MPU */
  HAL_MPU_Enable(MPU_PRIVILEGED_DEFAULT);

}

void Error_Handler(void)
{
  __disable_irq();
  while (1)
  {
  }
}
